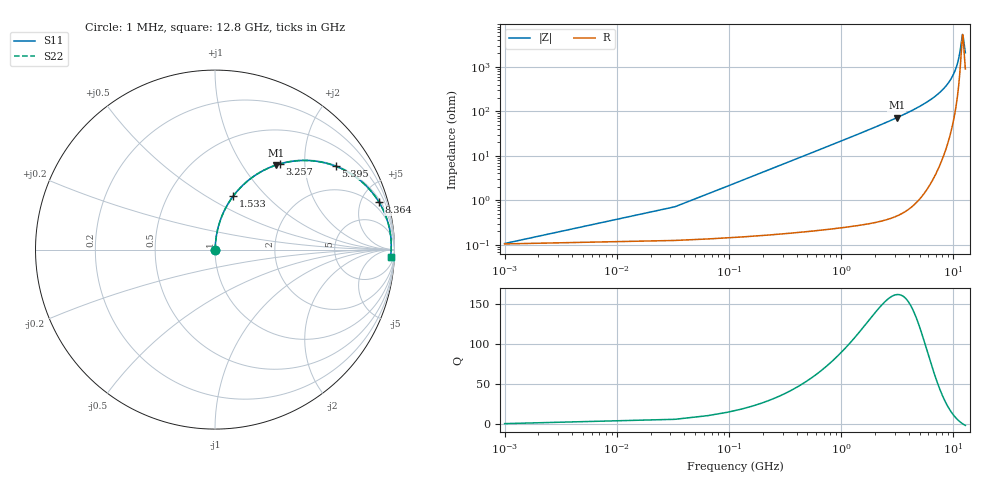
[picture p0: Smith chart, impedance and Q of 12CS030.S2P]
! Coilcraft 1206CS-030 Chip Inductor
! 29 July 2002
# MHZ S MA R 50
!Freq  MagS11  AngS11  MagS21  AngS21  MagS12  AngS12  MagS22  AngS22
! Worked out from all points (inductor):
!   402 points, 1 MHz to 12.8 GHz, reference 50 ohm
!   read as one part in series: L = 3.4 nH near 64.84 MHz
!   highest Q = 162 at 3.129 GHz (marker M1), where L = 3.64 nH
!   self-resonance near 12.1 GHz
!   S11 on the Smith chart (normalised r, x): 1 MHz: 1.00, +0.00; 1.533 GHz: 1.01, +0.67; 3.257 GHz: 1.01, +1.50; 5.395 GHz: 1.03, +2.88; 8.364 GHz: 1.23, +6.84; 12.8 GHz: 19, -37
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1  0.001064 11.6  0.999 -0.0  0.999 -0.0  0.001064 11.6
96.76  0.02069 84.9  0.9984 -1.2  0.9984 -1.2  0.02069 84.9
128.68  0.02748 85.3  0.9981 -1.6  0.9981 -1.6  0.02748 85.3
192.52  0.04107 85.4  0.9976 -2.4  0.9976 -2.4  0.04107 85.4
320.2  0.06819 84.6  0.9959 -3.9  0.9959 -3.9  0.06819 84.6
511.72  0.1087 82.7  0.9921 -6.2  0.9921 -6.2  0.1087 82.7
767.08  0.162 79.9  0.9846 -9.3  0.9846 -9.3  0.162 79.9
1533.16  0.3151 71.2  0.9464 -18.4  0.9464 -18.4  0.3151 71.2
2139.64  0.4256 64.4  0.902 -25.2  0.902 -25.2  0.4256 64.4
3129.16  0.5807 54.1  0.8105 -35.5  0.8105 -35.5  0.5807 54.1
3256.84  0.5983 52.9  0.7976 -36.8  0.7976 -36.8  0.5983 52.9
4278.28  0.72 43.6  0.6891 -46.1  0.6891 -46.1  0.72 43.6
5395.48  0.8177 34.6  0.5681 -54.8  0.5681 -54.8  0.8177 34.6
6416.92  0.8808 27.5  0.4616 -61.7  0.4616 -61.7  0.8808 27.5
8364.04  0.9512 16.1  0.2778 -71.9  0.2778 -71.9  0.9512 16.1
8555.56  0.9555 15.1  0.2613 -72.7  0.2613 -72.7  0.9555 15.1
9768.52  0.9743 9.3  0.1628 -76.3  0.1628 -76.3  0.9743 9.3
10694.2  0.9809 5.4  0.09492 -75.7  0.09492 -75.7  0.9809 5.4
11332.6  0.9825 2.8  0.05231 -69.0  0.05231 -69.0  0.9825 2.8
12066.76  0.9817 0.1  0.0184 -6.3  0.0184 -6.3  0.9817 0.1
12226.36  0.9812 -0.5  0.02033 22.4  0.02033 22.4  0.9812 -0.5
12800  0.9787 -2.4  0.04716 62.0  0.04716 62.0  0.9787 -2.4
